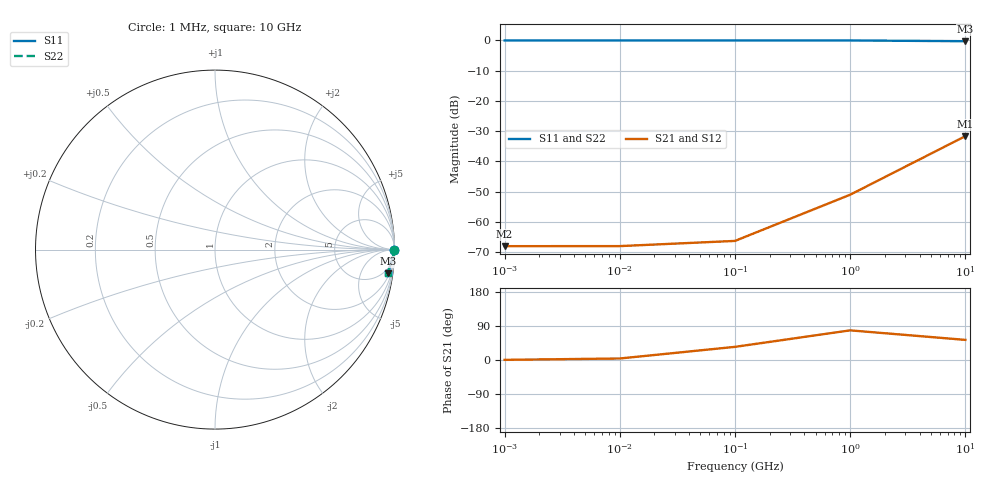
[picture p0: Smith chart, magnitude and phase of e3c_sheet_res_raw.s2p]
! Sonnet Data File
! From: em Version : 18.53-Lite
! From Project: e3c_sheet_res
! Data is NOT De-embedded
! Data File Written: 10/12/2026 13:35:50
!< HDATE 10/12/2026 13:35:50
!< MDATE 10/12/2026 13:35:50
# GHZ S RI R 50.00000
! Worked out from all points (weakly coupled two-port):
!   5 points, 1 MHz to 10 GHz, reference 50 ohm
!   highest |S21| = -31.62 dB at 10 GHz (marker M1); lowest = -68.0 dB at 1 MHz (marker M2)
!   lowest |S11| = -0.2 dB at 10 GHz (marker M3), VSWR 69.56, Z = 151 - j706 ohm
!   |S11| at or under -10 dB: nowhere
!   |S22| runs from -0.2 to 0.0 dB; largest |S21 - S12| = 1e-16
0.001  0.9996 -1.42e-05  0.000399 2.78e-06  0.000399 2.78e-06  0.9996 -1.42e-05
0.01  0.9996 -0.000142  0.000399 2.78e-05  0.000399 2.78e-05  0.9996 -0.000142
0.1  0.9996 -0.00142  0.000401 0.000278  0.000401 0.000278  0.9996 -0.00142
1  0.9992 -0.0142  0.000578 0.00277  0.000578 0.00277  0.9992 -0.0142
10  0.9628 -0.131  0.0158 0.021  0.0158 0.021  0.9628 -0.131
